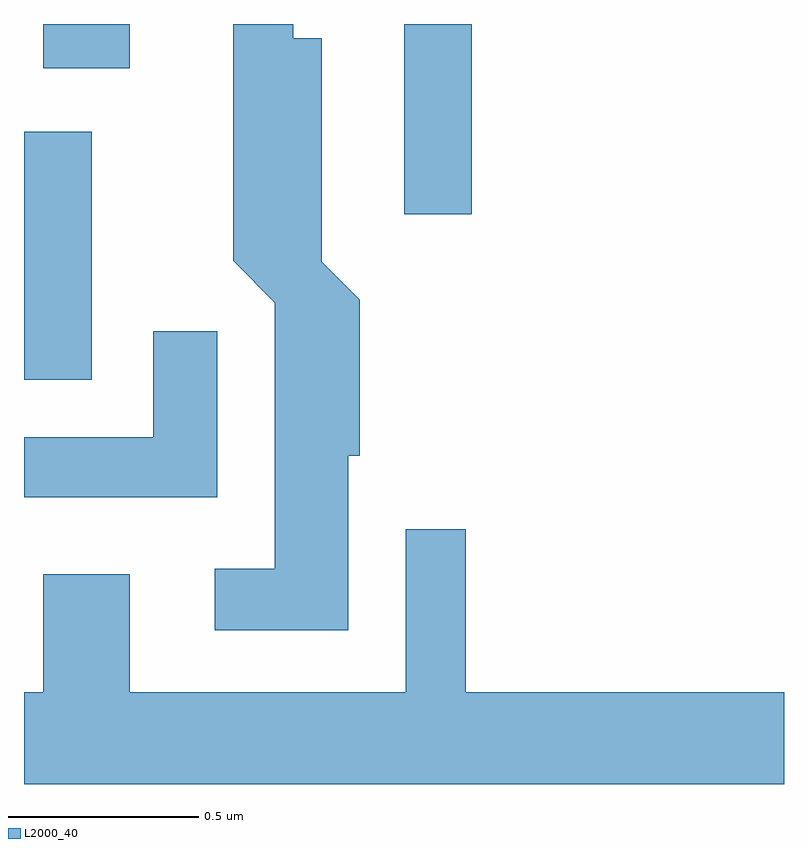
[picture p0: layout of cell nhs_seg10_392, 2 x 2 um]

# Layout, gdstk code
import gdstk
lib = gdstk.Library(unit=1e-6, precision=1e-09)
def R(c, l, rs):  # rectangles x0, y0, x1, y1
    for r in rs: c.add(gdstk.rectangle(r[:2], r[2:], *l))
def P(c, l, *ps):  # polygons
    for p in ps: c.add(gdstk.Polygon(p, *l))
L2000_40 = (2000, 40)

nhs_seg10_392 = lib.new_cell('nhs_seg10_392')
R(nhs_seg10_392, L2000_40, [(187.611,2201.586,187.789,2202.239), (188.611,2202.021,188.789,2202.522), (187.661,2202.406,187.889,2202.522)])
P(nhs_seg10_392, L2000_40, [(188.464,2201.386),(188.494,2201.386),(188.494,2201.797),(188.394,2201.897),(188.394,2202.484),(188.319,2202.484),(188.319,2202.522),(188.161,2202.522),(188.161,2201.899),(188.271,2201.789),(188.271,2201.089),(188.113,2201.089),(188.113,2200.926),(188.464,2200.926)],
  [(188.119,2201.713),(187.951,2201.713),(187.951,2201.434),(187.611,2201.434),(187.611,2201.276),(188.119,2201.276)],
  [(189.611,2200.764),(188.774,2200.764),(188.774,2201.193),(188.616,2201.193),(188.616,2200.764),(187.889,2200.764),(187.889,2201.074),(187.661,2201.074),(187.661,2200.764),(187.611,2200.764),(187.611,2200.522),(189.611,2200.522)])

lib.write_gds('nhs_seg10_392.gds')
